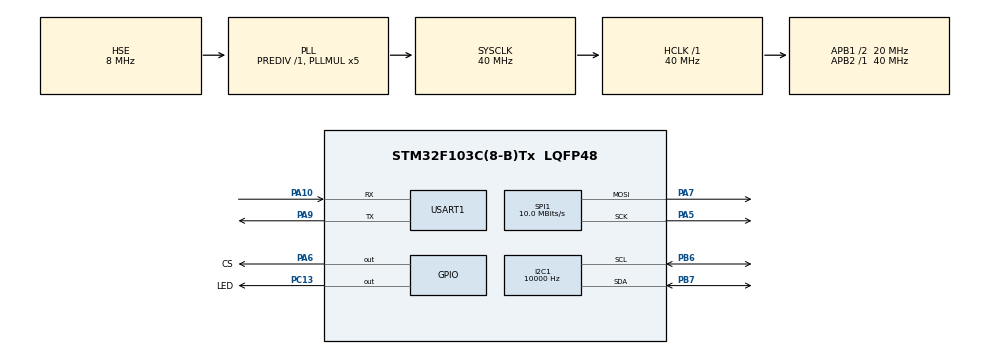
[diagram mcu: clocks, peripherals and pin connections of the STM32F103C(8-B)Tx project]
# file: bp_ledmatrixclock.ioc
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ADC1.Channel-0\#ChannelRegularConversion=ADC_CHANNEL_TEMPSENSOR
ADC1.NbrOfConversionFlag=1
ADC1.Rank-0\#ChannelRegularConversion=1
ADC1.SamplingTime-0\#ChannelRegularConversion=ADC_SAMPLETIME_1CYCLE_5
ADC1.master=1
I2C1.ClockSpeed=10000
Mcu.Family=STM32F1
Mcu.Name=STM32F103C(8-B)Tx
Mcu.Package=LQFP48
NVIC.PriorityGroup=NVIC_PRIORITYGROUP_4
PA10.Mode=Asynchronous
PA10.Signal=USART1_RX
PA13.Mode=Serial_Wire
PA13.Signal=SYS_JTMS-SWDIO
PA14.Mode=Serial_Wire
PA14.Signal=SYS_JTCK-SWCLK
PA5.Mode=TX_Only_Simplex_Unidirect_Master
PA5.Signal=SPI1_SCK
PA6.GPIO_Label=CS
PA6.Signal=GPIO_Output
PA7.Mode=TX_Only_Simplex_Unidirect_Master
PA7.Signal=SPI1_MOSI
PA9.Mode=Asynchronous
PA9.Signal=USART1_TX
PB6.Mode=I2C
PB6.Signal=I2C1_SCL
PB7.Mode=I2C
PB7.Signal=I2C1_SDA
PC13-TAMPER-RTC.GPIO_Label=LED
PC13-TAMPER-RTC.Signal=GPIO_Output
PC14-OSC32_IN.Mode=LSE-External-Oscillator
PC14-OSC32_IN.Signal=RCC_OSC32_IN
PC15-OSC32_OUT.Mode=LSE-External-Oscillator
PC15-OSC32_OUT.Signal=RCC_OSC32_OUT
PD0-OSC_IN.Mode=HSE-External-Oscillator
PD0-OSC_IN.Signal=RCC_OSC_IN
PD1-OSC_OUT.Mode=HSE-External-Oscillator
PD1-OSC_OUT.Signal=RCC_OSC_OUT
ProjectManager.HeapSize=0x200
ProjectManager.StackSize=0x400
ProjectManager.TargetToolchain=STM32CubeIDE
RCC.ADCPresc=RCC_ADCPCLK2_DIV4
RCC.AHBFreq_Value=40000000
RCC.APB1CLKDivider=RCC_HCLK_DIV2
RCC.APB1Freq_Value=20000000
RCC.APB1TimFreq_Value=40000000
RCC.APB2Freq_Value=40000000
RCC.APB2TimFreq_Value=40000000
RCC.HCLKFreq_Value=40000000
RCC.PLLMUL=RCC_PLL_MUL5
RCC.PLLSourceVirtual=RCC_PLLSOURCE_HSE
RCC.RTCClockSelection=RCC_RTCCLKSOURCE_LSE
RCC.SYSCLKFreq_VALUE=40000000
RCC.SYSCLKSource=RCC_SYSCLKSOURCE_PLLCLK
RCC.USBFreq_Value=40000000
SPI1.BaudRatePrescaler=SPI_BAUDRATEPRESCALER_4
SPI1.CalculateBaudRate=10.0 MBits/s
SPI1.DataSize=SPI_DATASIZE_16BIT
SPI1.Direction=SPI_DIRECTION_2LINES
SPI1.Mode=SPI_MODE_MASTER
SPI1.VirtualType=VM_MASTER
USART1.VirtualMode=VM_ASYNC
VP_ADC1_TempSens_Input.Mode=IN-TempSens
VP_RTC_VS_RTC_Activate.Mode=RTC_Enabled
board=custom

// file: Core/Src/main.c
/* USER CODE BEGIN Header */
/**
 ******************************************************************************
 * @file           : main.c
 * @brief          : Main program body
 ******************************************************************************
 * @attention
 *
 * Copyright (c) 2022 STMicroelectronics.
 * All rights reserved.
 *
 * This software is licensed under terms that can be found in the LICENSE file
 * in the root directory of this software component.
 * If no LICENSE file comes with this software, it is provided AS-IS.
 *
 ******************************************************************************
 */
/* USER CODE END Header */
#include "main.h"

/* USER CODE BEGIN Includes */

#include <stdlib.h>
/* USER CODE END Includes */

ADC_HandleTypeDef hadc1;

I2C_HandleTypeDef hi2c1;

RTC_HandleTypeDef hrtc;

SPI_HandleTypeDef hspi1;

UART_HandleTypeDef huart1;

void SystemClock_Config(void);
static void MX_GPIO_Init(void);
static void MX_SPI1_Init(void);
static void MX_RTC_Init(void);
static void MX_ADC1_Init(void);
static void MX_I2C1_Init(void);
static void MX_USART1_UART_Init(void);

/* USER CODE BEGIN 0 */

volatile uint8_t x0 = 8, y0 = 4, x1 = 62, y1 = 14;
volatile uint8_t xm = 32, ym = 8, r = 5;
volatile uint8_t xc = 0, yc = 0, cc = 'S';

uint8_t text2[40];
int16_t scr_offs;

volatile uint32_t gett = 0;
uint32_t adcval;

uint16_t slope = 35, offs = 25;
uint32_t temp;
uint32_t tempval;
uint32_t v25_100 = 196319;
uint16_t m10000 = 42857;
volatile uint8_t reinit = 0;

uint8_t i2cbytes[10];
uint16_t i2ctemp;
uint8_t i2caddr = 0xd0;
/* USER CODE END 0 */

int main(void)
{

  /* MCU Configuration--------------------------------------------------------*/

  /* Reset of all peripherals, Initializes the Flash interface and the Systick. */
  HAL_Init();

  /* Configure the system clock */
  SystemClock_Config();

  /* Initialize all configured peripherals */
  MX_GPIO_Init();
  MX_SPI1_Init();
  MX_RTC_Init();
  MX_ADC1_Init();
  MX_I2C1_Init();
  MX_USART1_UART_Init();
  /* USER CODE BEGIN 2 */
	HAL_UART_Transmit(&huart1, "Start", sizeof("Start"), 10);

	//HAL_ADCEx_Calibration_Start(&hadc1);

	MX_I2C1_Init();
	MX_USART1_UART_Init();
	/* USER CODE BEGIN 2 */

//	HAL_ADCEx_Calibration_Start(&hadc1);

	if (0) {
				i2cbytes[0] = 0;
				i2cbytes[1] = 0;
				HAL_I2C_Master_Transmit(&hi2c1, i2caddr, i2cbytes, 2, 10);
			}

  /* USER CODE END 2 */

  /* Infinite loop */
	while (1) {

    /* USER CODE BEGIN 3 */
		HAL_GPIO_TogglePin(LED_GPIO_Port, LED_Pin);

		HAL_Delay(1000);
		//HAL_ADC_Start(&hadc1);
		//HAL_ADC_PollForConversion(&hadc1, 100);
		//adcval = HAL_ADC_GetValue(&hadc1);
		//HAL_ADC_Stop(&hadc1);

		uint16_t textlen;
		{

			if (adcval < 1500)
				adcval = 1500;
			if (adcval > 1950)
				adcval = 1950;
			adcval -= 1500;
			//tempval = AVG_get(&myavg, adcval*100);
			tempval = adcval;
			tempval += 1500 * 100;
			//temp = (v25-tempval/10)*100/slope+offs*100;
			//1000000
			temp = (v25_100 - tempval) * 10000 / m10000;

			textlen = sprintf(text2, " adc=%d temp=%d", tempval / 10, temp);
			HAL_UART_Transmit(&huart1, text2, textlen, 10);
			HAL_UART_Transmit(&huart1, "\n", 1, 10);

		}
		scr_offs++;
		if (scr_offs >= ((textlen * 6) << 1))
			scr_offs = 0;

		/*
		 * uint8_t i2cbytes[2];
		 * uint16_t i2ctemp;
		 *
		 * */
		HAL_StatusTypeDef res;
		if (0) {
			i2cbytes[0] = 1;
			i2cbytes[1] = 0;
			res = HAL_I2C_Master_Transmit(&hi2c1, i2caddr, i2cbytes, 2, 10);
		}

		i2cbytes[0] = 0;
		i2cbytes[1] = 0;
		res = HAL_I2C_Master_Transmit(&hi2c1, i2caddr, i2cbytes, 1, 10);

		HAL_Delay(1);
		res = HAL_I2C_Master_Receive(&hi2c1, i2caddr, i2cbytes, 8, 10);

		i2ctemp = ((i2cbytes[0] << 1) + (i2cbytes[1] >> 7)) * 5;
		textlen = sprintf(text2, "res=%d i2ctemp=%d, clock %x_%x %x %x\n",res, i2ctemp,i2cbytes[0],i2cbytes[1], i2cbytes[2],i2cbytes[3]);
		HAL_UART_Transmit(&huart1, text2, textlen, 10);

	}

  /* USER CODE END 3 */
}

void SystemClock_Config(void)
{
  RCC_OscInitTypeDef RCC_OscInitStruct = {0};
  RCC_ClkInitTypeDef RCC_ClkInitStruct = {0};
  RCC_PeriphCLKInitTypeDef PeriphClkInit = {0};

  /** Initializes the RCC Oscillators according to the specified parameters
  * in the RCC_OscInitTypeDef structure.
  */
  RCC_OscInitStruct.OscillatorType = RCC_OSCILLATORTYPE_HSE|RCC_OSCILLATORTYPE_LSE;
  RCC_OscInitStruct.HSEState = RCC_HSE_ON;
  RCC_OscInitStruct.HSEPredivValue = RCC_HSE_PREDIV_DIV1;
  RCC_OscInitStruct.LSEState = RCC_LSE_ON;
  RCC_OscInitStruct.HSIState = RCC_HSI_ON;
  RCC_OscInitStruct.PLL.PLLState = RCC_PLL_ON;
  RCC_OscInitStruct.PLL.PLLSource = RCC_PLLSOURCE_HSE;
  RCC_OscInitStruct.PLL.PLLMUL = RCC_PLL_MUL5;
  if (HAL_RCC_OscConfig(&RCC_OscInitStruct) != HAL_OK)
  {
    Error_Handler();
  }

  /** Initializes the CPU, AHB and APB buses clocks
  */
  RCC_ClkInitStruct.ClockType = RCC_CLOCKTYPE_HCLK|RCC_CLOCKTYPE_SYSCLK
                              |RCC_CLOCKTYPE_PCLK1|RCC_CLOCKTYPE_PCLK2;
  RCC_ClkInitStruct.SYSCLKSource = RCC_SYSCLKSOURCE_PLLCLK;
  RCC_ClkInitStruct.AHBCLKDivider = RCC_SYSCLK_DIV1;
  RCC_ClkInitStruct.APB1CLKDivider = RCC_HCLK_DIV2;
  RCC_ClkInitStruct.APB2CLKDivider = RCC_HCLK_DIV1;

  if (HAL_RCC_ClockConfig(&RCC_ClkInitStruct, FLASH_LATENCY_1) != HAL_OK)
  {
    Error_Handler();
  }
  PeriphClkInit.PeriphClockSelection = RCC_PERIPHCLK_RTC|RCC_PERIPHCLK_ADC;
  PeriphClkInit.RTCClockSelection = RCC_RTCCLKSOURCE_LSE;
  PeriphClkInit.AdcClockSelection = RCC_ADCPCLK2_DIV4;
  if (HAL_RCCEx_PeriphCLKConfig(&PeriphClkInit) != HAL_OK)
  {
    Error_Handler();
  }
}

static void MX_ADC1_Init(void)
{

  ADC_ChannelConfTypeDef sConfig = {0};

  /** Common config
  */
  hadc1.Instance = ADC1;
  hadc1.Init.ScanConvMode = ADC_SCAN_DISABLE;
  hadc1.Init.ContinuousConvMode = DISABLE;
  hadc1.Init.DiscontinuousConvMode = DISABLE;
  hadc1.Init.ExternalTrigConv = ADC_SOFTWARE_START;
  hadc1.Init.DataAlign = ADC_DATAALIGN_RIGHT;
  hadc1.Init.NbrOfConversion = 1;
  if (HAL_ADC_Init(&hadc1) != HAL_OK)
  {
    Error_Handler();
  }

  /** Configure Regular Channel
  */
  sConfig.Channel = ADC_CHANNEL_TEMPSENSOR;
  sConfig.Rank = ADC_REGULAR_RANK_1;
  sConfig.SamplingTime = ADC_SAMPLETIME_1CYCLE_5;
  if (HAL_ADC_ConfigChannel(&hadc1, &sConfig) != HAL_OK)
  {
    Error_Handler();
  }

}

static void MX_I2C1_Init(void)
{

  hi2c1.Instance = I2C1;
  hi2c1.Init.ClockSpeed = 10000;
  hi2c1.Init.DutyCycle = I2C_DUTYCYCLE_2;
  hi2c1.Init.OwnAddress1 = 0;
  hi2c1.Init.AddressingMode = I2C_ADDRESSINGMODE_7BIT;
  hi2c1.Init.DualAddressMode = I2C_DUALADDRESS_DISABLE;
  hi2c1.Init.OwnAddress2 = 0;
  hi2c1.Init.GeneralCallMode = I2C_GENERALCALL_DISABLE;
  hi2c1.Init.NoStretchMode = I2C_NOSTRETCH_DISABLE;
  if (HAL_I2C_Init(&hi2c1) != HAL_OK)
  {
    Error_Handler();
  }

}

static void MX_RTC_Init(void)
{

  /** Initialize RTC Only
  */
  hrtc.Instance = RTC;
  hrtc.Init.AsynchPrediv = RTC_AUTO_1_SECOND;
  hrtc.Init.OutPut = RTC_OUTPUTSOURCE_ALARM;
  if (HAL_RTC_Init(&hrtc) != HAL_OK)
  {
    Error_Handler();
  }

}

static void MX_SPI1_Init(void)
{

  /* SPI1 parameter configuration*/
  hspi1.Instance = SPI1;
  hspi1.Init.Mode = SPI_MODE_MASTER;
  hspi1.Init.Direction = SPI_DIRECTION_2LINES;
  hspi1.Init.DataSize = SPI_DATASIZE_16BIT;
  hspi1.Init.CLKPolarity = SPI_POLARITY_LOW;
  hspi1.Init.CLKPhase = SPI_PHASE_1EDGE;
  hspi1.Init.NSS = SPI_NSS_SOFT;
  hspi1.Init.BaudRatePrescaler = SPI_BAUDRATEPRESCALER_4;
  hspi1.Init.FirstBit = SPI_FIRSTBIT_MSB;
  hspi1.Init.TIMode = SPI_TIMODE_DISABLE;
  hspi1.Init.CRCCalculation = SPI_CRCCALCULATION_DISABLE;
  hspi1.Init.CRCPolynomial = 10;
  if (HAL_SPI_Init(&hspi1) != HAL_OK)
  {
    Error_Handler();
  }

}

static void MX_USART1_UART_Init(void)
{

  huart1.Instance = USART1;
  huart1.Init.BaudRate = 115200;
  huart1.Init.WordLength = UART_WORDLENGTH_8B;
  huart1.Init.StopBits = UART_STOPBITS_1;
  huart1.Init.Parity = UART_PARITY_NONE;
  huart1.Init.Mode = UART_MODE_TX_RX;
  huart1.Init.HwFlowCtl = UART_HWCONTROL_NONE;
  huart1.Init.OverSampling = UART_OVERSAMPLING_16;
  if (HAL_UART_Init(&huart1) != HAL_OK)
  {
    Error_Handler();
  }

}

static void MX_GPIO_Init(void)
{
  GPIO_InitTypeDef GPIO_InitStruct = {0};

  /* GPIO Ports Clock Enable */
  __HAL_RCC_GPIOC_CLK_ENABLE();
  __HAL_RCC_GPIOD_CLK_ENABLE();
  __HAL_RCC_GPIOA_CLK_ENABLE();
  __HAL_RCC_GPIOB_CLK_ENABLE();

  /*Configure GPIO pin Output Level */
  HAL_GPIO_WritePin(LED_GPIO_Port, LED_Pin, GPIO_PIN_RESET);

  /*Configure GPIO pin Output Level */
  HAL_GPIO_WritePin(CS_GPIO_Port, CS_Pin, GPIO_PIN_RESET);

  /*Configure GPIO pin : LED_Pin */
  GPIO_InitStruct.Pin = LED_Pin;
  GPIO_InitStruct.Mode = GPIO_MODE_OUTPUT_PP;
  GPIO_InitStruct.Pull = GPIO_NOPULL;
  GPIO_InitStruct.Speed = GPIO_SPEED_FREQ_LOW;
  HAL_GPIO_Init(LED_GPIO_Port, &GPIO_InitStruct);

  /*Configure GPIO pin : CS_Pin */
  GPIO_InitStruct.Pin = CS_Pin;
  GPIO_InitStruct.Mode = GPIO_MODE_OUTPUT_PP;
  GPIO_InitStruct.Pull = GPIO_NOPULL;
  GPIO_InitStruct.Speed = GPIO_SPEED_FREQ_LOW;
  HAL_GPIO_Init(CS_GPIO_Port, &GPIO_InitStruct);

}

void Error_Handler(void)
{
	__disable_irq();
	while (1) {
	}
}
